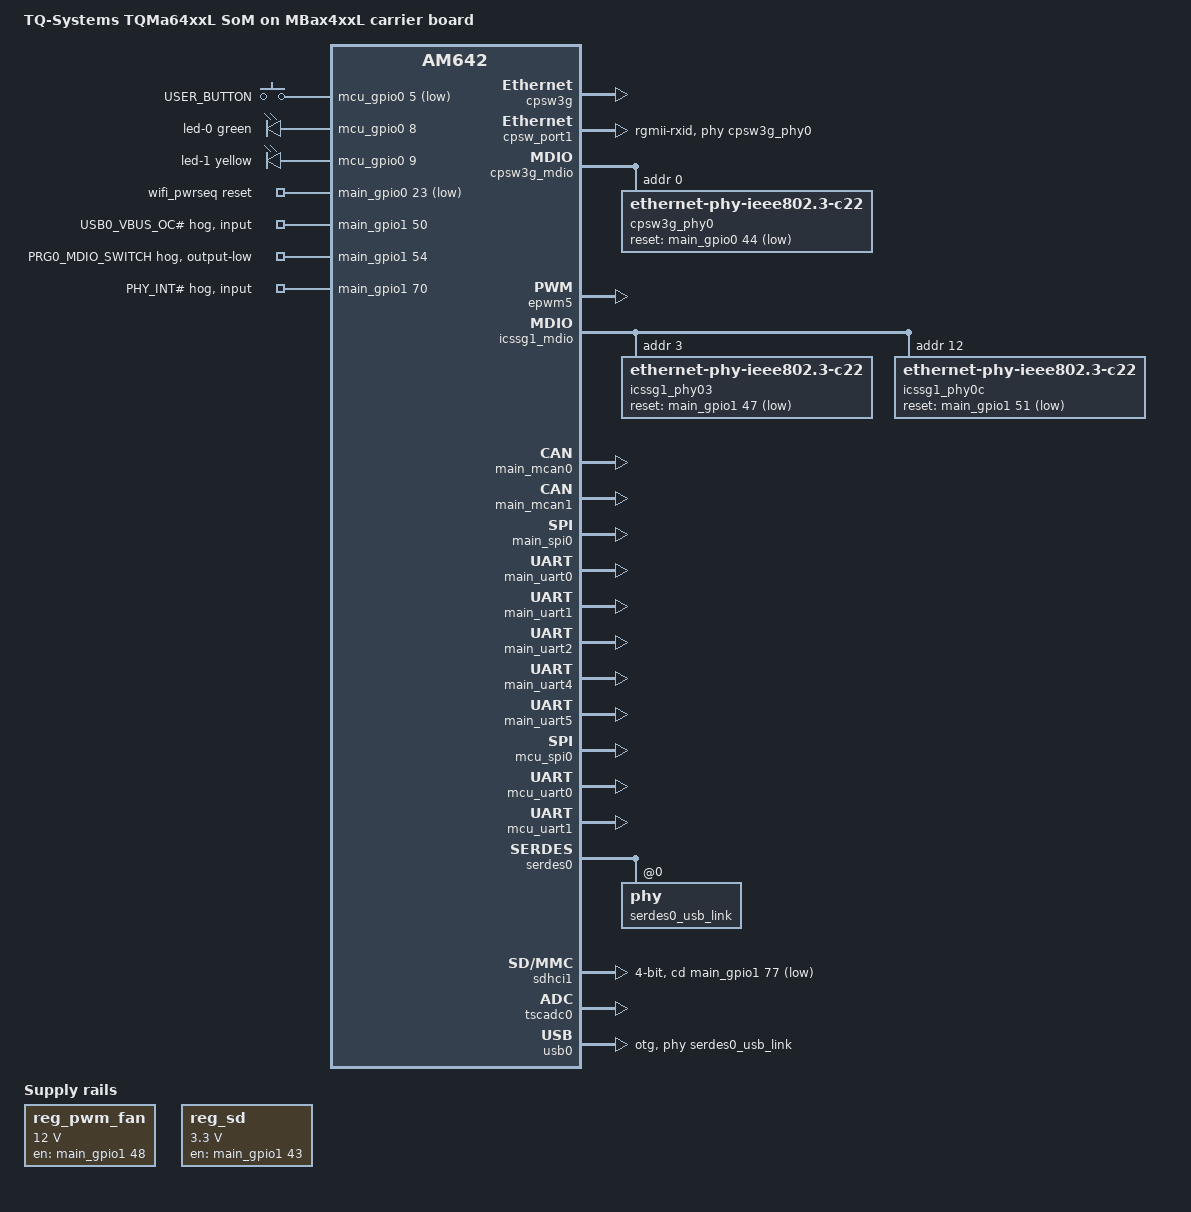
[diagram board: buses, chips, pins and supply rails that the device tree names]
// SPDX-License-Identifier: GPL-2.0-only OR MIT
/*
 * Copyright (C) 2021 Texas Instruments Incorporated - https://www.ti.com/
 * Copyright (c) 2022-2024 TQ-Systems GmbH <linux@ew.tq-group.com>, D-82229 Seefeld, Germany.
 */

/dts-v1/;

#include <dt-bindings/gpio/gpio.h>
#include <dt-bindings/input/input.h>
#include <dt-bindings/leds/common.h>
#include <dt-bindings/net/ti-dp83867.h>
#include <dt-bindings/phy/phy.h>
#include <dt-bindings/pwm/pwm.h>
#include "k3-serdes.h"

#include "k3-am642-tqma64xxl.dtsi"

/ {
	compatible = "tq,am642-tqma6442l-mbax4xxl", "tq,am642-tqma6442l",
		     "ti,am642";
	model = "TQ-Systems TQMa64xxL SoM on MBax4xxL carrier board";
	chassis-type = "embedded";

	aliases {
		ethernet0 = &cpsw_port1;
		ethernet1 = &icssg1_emac0;
		ethernet2 = &icssg1_emac1;
		i2c1 = &mcu_i2c0;
		mmc1 = &sdhci1;
		serial0 = &mcu_uart0;
		serial1 = &mcu_uart1;
		serial2 = &main_uart0;
		serial3 = &main_uart1;
		serial4 = &main_uart2;
		serial5 = &main_uart4;
		serial6 = &main_uart5;
		serial7 = &main_uart3;
		spi1 = &main_spi0;
		spi2 = &mcu_spi0;
	};

	chosen {
		stdout-path = &main_uart0;
	};

	gpio-keys {
		compatible = "gpio-keys";
		pinctrl-names = "default";
		pinctrl-0 = <&mcu_gpio_keys_pins>;

		user-button {
			label = "USER_BUTTON";
			linux,code = <BTN_0>;
			gpios = <&mcu_gpio0 5 GPIO_ACTIVE_LOW>;
		};
	};

	gpio-leds {
		compatible = "gpio-leds";
		pinctrl-names = "default";
		pinctrl-0 = <&mcu_gpio_leds_pins>;

		led-0 {
			gpios = <&mcu_gpio0 8 GPIO_ACTIVE_HIGH>;
			color = <LED_COLOR_ID_GREEN>;
			function = LED_FUNCTION_INDICATOR;
		};
		led-1 {
			gpios = <&mcu_gpio0 9 GPIO_ACTIVE_HIGH>;
			color = <LED_COLOR_ID_YELLOW>;
			function = LED_FUNCTION_INDICATOR;
		};
	};

	icssg1_eth: icssg1-eth {
		compatible = "ti,am642-icssg-prueth";
		pinctrl-names = "default";
		pinctrl-0 = <&pru_icssg1_rgmii1_pins>, <&pru_icssg1_rgmii2_pins>;
		interrupt-parent = <&icssg1_intc>;
		interrupts = <24 0 2>, <25 1 3>;
		interrupt-names = "tx_ts0", "tx_ts1";
		dmas = <&main_pktdma 0xc200 15>, /* egress slice 0 */
		       <&main_pktdma 0xc201 15>, /* egress slice 0 */
		       <&main_pktdma 0xc202 15>, /* egress slice 0 */
		       <&main_pktdma 0xc203 15>, /* egress slice 0 */
		       <&main_pktdma 0xc204 15>, /* egress slice 1 */
		       <&main_pktdma 0xc205 15>, /* egress slice 1 */
		       <&main_pktdma 0xc206 15>, /* egress slice 1 */
		       <&main_pktdma 0xc207 15>, /* egress slice 1 */
		       <&main_pktdma 0x4200 15>, /* ingress slice 0 */
		       <&main_pktdma 0x4201 15>; /* ingress slice 1 */
		dma-names = "tx0-0", "tx0-1", "tx0-2", "tx0-3",
			    "tx1-0", "tx1-1", "tx1-2", "tx1-3",
			    "rx0", "rx1";
		sram = <&oc_sram>;
		firmware-name = "ti-pruss/am64x-sr2-pru0-prueth-fw.elf",
				"ti-pruss/am64x-sr2-rtu0-prueth-fw.elf",
				"ti-pruss/am64x-sr2-txpru0-prueth-fw.elf",
				"ti-pruss/am64x-sr2-pru1-prueth-fw.elf",
				"ti-pruss/am64x-sr2-rtu1-prueth-fw.elf",
				"ti-pruss/am64x-sr2-txpru1-prueth-fw.elf";
		ti,prus = <&pru1_0>, <&rtu1_0>, <&tx_pru1_0>, <&pru1_1>, <&rtu1_1>, <&tx_pru1_1>;
		ti,pruss-gp-mux-sel = <2>,	/* MII mode */
				      <2>,
				      <2>,
				      <2>,	/* MII mode */
				      <2>,
				      <2>;
		ti,mii-g-rt = <&icssg1_mii_g_rt>;
		ti,mii-rt = <&icssg1_mii_rt>;
		ti,iep = <&icssg1_iep0>,  <&icssg1_iep1>;

		ethernet-ports {
			#address-cells = <1>;
			#size-cells = <0>;

			icssg1_emac0: port@0 {
				reg = <0>;
				phy-handle = <&icssg1_phy0c>;
				phy-mode = "rgmii-id";
				/* Filled in by bootloader */
				local-mac-address = [00 00 00 00 00 00];
			};

			icssg1_emac1: port@1 {
				reg = <1>;
				phy-handle = <&icssg1_phy03>;
				phy-mode = "rgmii-id";
				/* Filled in by bootloader */
				local-mac-address = [00 00 00 00 00 00];
			};
		};
	};

	fan0: pwm-fan {
		compatible = "pwm-fan";
		pinctrl-names = "default";
		pinctrl-0 = <&pwm_fan_pins>;
		fan-supply = <&reg_pwm_fan>;
		#cooling-cells = <2>;
		/* typical 25 kHz -> 40.000 nsec */
		pwms = <&epwm5 0 40000 PWM_POLARITY_INVERTED>;
		cooling-levels = <0 32 64 128 196 240>;
		pulses-per-revolution = <2>;
		interrupt-parent = <&main_gpio1>;
		interrupts = <49 IRQ_TYPE_EDGE_FALLING>;
		status = "disabled";
	};

	wifi_pwrseq: pwrseq-wifi {
		compatible = "mmc-pwrseq-simple";
		pinctrl-names = "default";
		pinctrl-0 = <&main_mmc1_wifi_pwrseq_pins>;
		reset-gpios = <&main_gpio0 23 GPIO_ACTIVE_LOW>;
	};

	reg_pwm_fan: regulator-pwm-fan {
		compatible = "regulator-fixed";
		pinctrl-names = "default";
		pinctrl-0 = <&pwm_fan_reg_pins>;
		regulator-name = "FAN_PWR";
		regulator-min-microvolt = <12000000>;
		regulator-max-microvolt = <12000000>;
		gpio = <&main_gpio1 48 GPIO_ACTIVE_HIGH>;
		enable-active-high;
	};

	reg_sd: regulator-sd {
		compatible = "regulator-fixed";
		pinctrl-names = "default";
		pinctrl-0 = <&main_mmc1_reg_pins>;
		regulator-name = "V_3V3_SD";
		regulator-min-microvolt = <3300000>;
		regulator-max-microvolt = <3300000>;
		gpio = <&main_gpio1 43 GPIO_ACTIVE_HIGH>;
		enable-active-high;
	};
};

&cpsw3g {
	pinctrl-names = "default";
	pinctrl-0 = <&cpsw_pins>;
	status = "okay";
};

&cpsw_port1 {
	phy-mode = "rgmii-rxid";
	phy-handle = <&cpsw3g_phy0>;
	status = "okay";
};

&cpsw3g_mdio {
	pinctrl-names = "default";
	pinctrl-0 = <&cpsw_mdio_pins>;
	status = "okay";

	cpsw3g_phy0: ethernet-phy@0 {
		compatible = "ethernet-phy-ieee802.3-c22";
		reg = <0>;
		reset-gpios = <&main_gpio0 44 GPIO_ACTIVE_LOW>;
		reset-assert-us = <1000>;
		reset-deassert-us = <1000>;
		ti,rx-internal-delay = <DP83867_RGMIIDCTL_2_00_NS>;
		ti,clk-output-sel = <DP83867_CLK_O_SEL_OFF>;
	};
};

&epwm5 {
	pinctrl-names = "default";
	pinctrl-0 = <&epwm5_pins>;
	status = "okay";
};

&icssg1_mdio {
	pinctrl-names = "default";
	pinctrl-0 = <&pru_icssg1_mdio_pins>;
	status = "okay";

	/* phy-mode is fixed up to rgmii-rxid by prueth driver to account for
	 * the SoC integration, so the only rx-internal-delay and no
	 * tx-internal-delay is set for the PHYs.
	 */

	icssg1_phy03: ethernet-phy@3 {
		compatible = "ethernet-phy-ieee802.3-c22";
		reg = <0x3>;
		reset-gpios = <&main_gpio1 47 GPIO_ACTIVE_LOW>;
		reset-assert-us = <1000>;
		reset-deassert-us = <1000>;
		ti,rx-internal-delay = <DP83867_RGMIIDCTL_2_00_NS>;
		ti,clk-output-sel = <DP83867_CLK_O_SEL_OFF>;
	};

	icssg1_phy0c: ethernet-phy@c {
		compatible = "ethernet-phy-ieee802.3-c22";
		reg = <0xc>;
		reset-gpios = <&main_gpio1 51 GPIO_ACTIVE_LOW>;
		reset-assert-us = <1000>;
		reset-deassert-us = <1000>;
		ti,rx-internal-delay = <DP83867_RGMIIDCTL_2_00_NS>;
		ti,clk-output-sel = <DP83867_CLK_O_SEL_OFF>;
	};
};


&main_gpio0 {
	pinctrl-names = "default";
	pinctrl-0 = <&main_gpio0_digital_pins>,
		    <&main_gpio0_hog_pins>;
	gpio-line-names =
		"", "", "", "", /* 0-3 */
		"", "", "", "", /* 4-7 */
		"", "", "", "", /* 8-11 */
		"", "", "", "", /* 12-15 */
		"", "", "", "", /* 16-19 */
		"", "", "", "", /* 20-23 */
		"", "", "EN_DIG_OUT_1", "STATUS_OUT_1", /* 24-27 */
		"EN_DIG_OUT_2", "STATUS_OUT_2", "EN_SIG_OUT_3", "", /* 28-31 */
		"", "", "STATUS_OUT_3", "EN_DIG_OUT_4", /* 32-35 */
		"", "", "STATUS_OUT_4", "DIG_IN_1", /* 36-39 */
		"DIG_IN_2", "DIG_IN_3", "DIG_IN_4"; /* 40- */
};

&main_gpio1 {
	pinctrl-names = "default";
	pinctrl-0 = <&main_gpio1_hog_pins>,
		    <&main_gpio1_pru_pins>;
	gpio-line-names =
		"", "", "", "", /* 0-3 */
		"", "", "", "", /* 4-7 */
		"", "", "", "", /* 8-11 */
		"", "", "", "", /* 12-15 */
		"", "", "", "", /* 16-19 */
		"", "", "", "", /* 20-23 */
		"", "", "", "", /* 24-27 */
		"", "", "", "", /* 28-31 */
		"", "", "", "", /* 32-35 */
		"", "", "", "", /* 36-39 */
		"", "", "", "", /* 40-43 */
		"", "", "", "", /* 44-47 */
		"", "", "", "", /* 48-51 */
		"", "", "", "ADC_SYNC", /* 52-55 */
		"", "", "ADC_RST#", "ADC_DATA_RDY", /* 56-59 */
		"", "", "", "", /* 60-63 */
		"", "", "", "ADC_INT#", /* 64-67 */
		"BG95_PWRKEY", "BG95_RESET"; /* 68- */

	line50-hog {
		/* See also usb0 */
		gpio-hog;
		gpios = <50 0>;
		line-name = "USB0_VBUS_OC#";
		input;
	};

	line54-hog {
		gpio-hog;
		gpios = <54 0>;
		line-name = "PRG0_MDIO_SWITCH";
		output-low;
	};

	line70-hog {
		gpio-hog;
		gpios = <70 0>;
		line-name = "PHY_INT#";
		input;
	};
};

&main_mcan0 {
	pinctrl-names = "default";
	pinctrl-0 = <&main_mcan0_pins>;
	status = "okay";
};

&main_mcan1 {
	pinctrl-names = "default";
	pinctrl-0 = <&main_mcan1_pins>;
	status = "okay";
};

&main_spi0 {
	pinctrl-names = "default";
	pinctrl-0 = <&main_spi0_pins>;
	ti,pindir-d0-out-d1-in;
	status = "okay";

	/* adc@0: NXP NAFE13388 */
};

/* UART/USB adapter port 1 */
&main_uart0 {
	pinctrl-names = "default";
	pinctrl-0 = <&main_uart0_pins>;
	status = "okay";
};

/*
 * IOT Module - GNSS UART
 *
 * Note: We expect usage of a SYSFW that does not reserve UART1 for debug traces
 */
&main_uart1 {
	pinctrl-names = "default";
	pinctrl-0 = <&main_uart1_pins>;
	status = "okay";
};

/* RS485 port */
&main_uart2 {
	pinctrl-names = "default";
	pinctrl-0 = <&main_uart2_pins>;
	linux,rs485-enabled-at-boot-time;
	rs485-rts-active-low;
	status = "okay";
};

/* Bluetooth module */
&main_uart3 {
	pinctrl-names = "default";
	pinctrl-0 = <&main_uart3_pins>;
	/*
	 * Left disabled for now, until a way to deal with drivers and firmware
	 * for the combined WLAN/BT module has been figured out
	 */
};

/* IOT module - Main UART */
&main_uart4 {
	pinctrl-names = "default";
	pinctrl-0 = <&main_uart4_pins>;
	status = "okay";
};

/* IOT module - DBG UART */
&main_uart5 {
	pinctrl-names = "default";
	pinctrl-0 = <&main_uart5_pins>;
	status = "okay";
};

&main0_thermal {
	trips {
		main0_active0: trip-active0 {
			temperature = <40000>;
			hysteresis = <5000>;
			type = "active";
		};

		main0_active1: trip-active1 {
			temperature = <48000>;
			hysteresis = <3000>;
			type = "active";
		};

		main0_active2: trip-active2 {
			temperature = <60000>;
			hysteresis = <10000>;
			type = "active";
		};
	};

	cooling-maps {
		map1 {
			trip = <&main0_active0>;
			cooling-device = <&fan0 1 1>;
		};

		map2 {
			trip = <&main0_active1>;
			cooling-device = <&fan0 2 2>;
		};

		map3 {
			trip = <&main0_active2>;
			cooling-device = <&fan0 3 3>;
		};
	};
};

&main1_thermal {
	trips {
		main1_active0: trip-active0 {
			temperature = <40000>;
			hysteresis = <5000>;
			type = "active";
		};

		main1_active1: trip-active1 {
			temperature = <48000>;
			hysteresis = <3000>;
			type = "active";
		};

		main1_active2: trip-active2 {
			temperature = <60000>;
			hysteresis = <10000>;
			type = "active";
		};
	};

	cooling-maps {
		map1 {
			trip = <&main1_active0>;
			cooling-device = <&fan0 1 1>;
		};

		map2 {
			trip = <&main1_active1>;
			cooling-device = <&fan0 2 2>;
		};

		map3 {
			trip = <&main1_active2>;
			cooling-device = <&fan0 3 3>;
		};
	};
};

&mcu_gpio0 {
	pinctrl-names = "default";
	pinctrl-0 = <&mcu_gpio0_pins>;
};

&mcu_i2c0 {
	pinctrl-names = "default";
	pinctrl-0 = <&mcu_i2c0_pins>;
	/* Left disabled: not functional without external pullup */
};

&mcu_spi0 {
	pinctrl-names = "default";
	pinctrl-0 = <&mcu_spi0_pins>;
	ti,pindir-d0-out-d1-in;
	status = "okay";
};

/* UART/USB adapter port 2 */
&mcu_uart0 {
	pinctrl-names = "default";
	pinctrl-0 = <&mcu_uart0_pins>;
	status = "okay";
};

/* Pin header */
&mcu_uart1 {
	pinctrl-names = "default";
	pinctrl-0 = <&mcu_uart1_pins>;
	status = "okay";
};

&serdes_ln_ctrl {
	idle-states = <AM64_SERDES0_LANE0_USB>;
};

&serdes0 {
	serdes0_usb_link: phy@0 {
		reg = <0>;
		#phy-cells = <0>;
		resets = <&serdes_wiz0 1>;
		cdns,num-lanes = <1>;
		cdns,phy-type = <PHY_TYPE_USB3>;
	};
};

&sdhci1 {
	pinctrl-names = "default";
	pinctrl-0 = <&main_mmc1_pins>;
	bus-width = <4>;
	cd-gpios = <&main_gpio1 77 GPIO_ACTIVE_LOW>;
	disable-wp;
	no-mmc;
	ti,fails-without-test-cd;
	/* Enabled by overlay */
};

&tscadc0 {
	status = "okay";
	adc {
		ti,adc-channels = <0 1 2 3 4 5 6 7>;
	};
};

&usb0 {
	/*
	 * The CDNS USB driver currently doesn't support overcurrent GPIOs,
	 * so there is no overcurrent detection. The OC pin is configured
	 * as a GPIO hog instead.
	 */
	pinctrl-names = "default";
	pinctrl-0 = <&main_usb0_pins>;
	dr_mode = "otg";
	maximum-speed = "super-speed";
	phys = <&serdes0_usb_link>;
	phy-names = "cdns3,usb3-phy";
};

&usbss0 {
	ti,vbus-divider;
};

&main_pmx0 {
	cpsw_pins: cpsw-pins {
		pinctrl-single,pins = <
			/* (W5) PRG0_PRU1_GPO7.RGMII1_RD0 */
			AM64X_IOPAD(0x01cc, PIN_INPUT, 4)
			/* (Y5) PRG0_PRU1_GPO9.RGMII1_RD1 */
			AM64X_IOPAD(0x01d4, PIN_INPUT, 4)
			/* (V6) PRG0_PRU1_GPO10.RGMII1_RD2 */
			AM64X_IOPAD(0x01d8, PIN_INPUT, 4)
			/* (V5) PRG0_PRU1_GPO17.RGMII1_RD3 */
			AM64X_IOPAD(0x01f4, PIN_INPUT, 4)
			/* (AA5) PRG0_PRU0_GPO10.RGMII1_RXC */
			AM64X_IOPAD(0x0188, PIN_INPUT, 4)
			/* (W6) PRG0_PRU0_GPO9.RGMII1_RX_CTL */
			AM64X_IOPAD(0x0184, PIN_INPUT, 4)
			/* (V15) PRG1_PRU1_GPO7.RGMII1_TD0 */
			AM64X_IOPAD(0x0124, PIN_OUTPUT, 4)
			/* (V14) PRG1_PRU1_GPO9.RGMII1_TD1 */
			AM64X_IOPAD(0x012c, PIN_OUTPUT, 4)
			/* (W14) PRG1_PRU1_GPO10.RGMII1_TD2 */
			AM64X_IOPAD(0x0130, PIN_OUTPUT, 4)
			/* (AA14) PRG1_PRU1_GPO17.RGMII1_TD3 */
			AM64X_IOPAD(0x014c, PIN_OUTPUT, 4)
			/* (U14) PRG1_PRU0_GPO10.RGMII1_TXC */
			AM64X_IOPAD(0x00e0, PIN_OUTPUT, 4)
			/* (U15) PRG1_PRU0_GPO9.RGMII1_TX_CTL */
			AM64X_IOPAD(0x00dc, PIN_OUTPUT, 4)
		>;
	};

	cpsw_mdio_pins: cpsw-mdio-pins {
		pinctrl-single,pins = <
			/* (R21) GPMC0_CSn3.GPIO0_44 - RESET_RGMII1# */
			AM64X_IOPAD(0x00b4, PIN_OUTPUT, 7)

			/* (R2) PRG0_PRU1_GPO19.MDIO0_MDC */
			AM64X_IOPAD(0x01fc, PIN_OUTPUT, 4)
			/* (P5) PRG0_PRU1_GPO18.MDIO0_MDIO */
			AM64X_IOPAD(0x01f8, PIN_INPUT, 4)
		>;
	};

	epwm5_pins: epwm5-pins {
		pinctrl-single,pins = <
			/* (W19) GPMC0_WAIT0.EHRPWM5_B */
			AM64X_IOPAD(0x0098, PIN_OUTPUT, 3)
		>;
	};

	/* Digital IOs */
	main_gpio0_digital_pins: main-gpio0-digital-pins {
		pinctrl-single,pins = <
			/* (W20) GPMC0_AD11.GPIO0_26 - EN_DIG_OUT_1 */
			AM64X_IOPAD(0x0068, PIN_OUTPUT, 7)
			/* (W21) GPMC0_AD12.GPIO0_27 - STATUS_OUT_1 */
			AM64X_IOPAD(0x006c, PIN_INPUT, 7)
			/* (V18) GPMC0_AD13.GPIO0_28 - EN_DIG_OUT_2 */
			AM64X_IOPAD(0x0070, PIN_OUTPUT, 7)
			/* (Y21) GPMC0_AD14.GPIO0_29 - STATUS_OUT_2 */
			AM64X_IOPAD(0x0074, PIN_INPUT, 7)
			/* (Y20) GPMC0_AD15.GPIO0_30 - EN_DIG_OUT_3 */
			AM64X_IOPAD(0x0078, PIN_OUTPUT, 7)
			/* (T21) GPMC0_WEn.GPIO0_34 - STATUS_OUT_3 */
			AM64X_IOPAD(0x008c, PIN_INPUT, 7)
			/* (P17) GPMC0_BE0n_CLE.GPIO0_35 - EN_DIG_OUT_4 */
			AM64X_IOPAD(0x0090, PIN_OUTPUT, 7)
			/* (Y18) GPMC0_WAIT1.GPIO0_38 - STATUS_OUT_4 */
			AM64X_IOPAD(0x009c, PIN_INPUT, 7)
			/* (N16) GPMC0_WPn.GPIO0_39 - DIG_IN_1 */
			AM64X_IOPAD(0x00a0, PIN_INPUT, 7)
			/* (N17) GPMC0_DIR.GPIO0_40 - DIG_IN_2 */
			AM64X_IOPAD(0x00a4, PIN_INPUT, 7)
			/* (R19) GPMC0_CSn0.GPIO0_41 - DIG_IN_3 */
			AM64X_IOPAD(0x00a8, PIN_INPUT, 7)
			/* (R20) GPMC0_CSn1.GPIO0_42 - DIG_IN_4 */
			AM64X_IOPAD(0x00ac, PIN_INPUT, 7)
		>;
	};

	main_gpio0_hog_pins: main-gpio0-hog-pins {
		pinctrl-single,pins = <
			/* (P19) GPMC0_CSn2.GPIO0_43 - MMC1_CTRL */
			AM64X_IOPAD(0x00b0, PIN_OUTPUT, 7)
		>;
	};

	main_gpio1_hog_pins: main-gpio1-hog-pins {
		pinctrl-single,pins = <
			/* (B15) SPI1_D0.GPIO1_50 - USB0_VBUS_OC# */
			AM64X_IOPAD(0x0228, PIN_INPUT, 7)
			/* (B16) UART0_CTSn.GPIO1_54 - PRG0_MDIO_SWITCH */
			AM64X_IOPAD(0x0238, PIN_OUTPUT, 7)
			/* (C19) EXTINTn.GPIO1_70 - PHY_INT# */
			AM64X_IOPAD(0x0278, PIN_INPUT, 7)
		>;
	};

	main_gpio1_pru_pins: main-gpio1-pru-pins {
		pinctrl-single,pins = <
			/* (Y1) PRG0_PRU0_GPO0.GPIO1_0 */
			AM64X_IOPAD(0x0160, PIN_INPUT, 7)
			/* (R4) PRG0_PRU0_GPO1.GPIO1_1 */
			AM64X_IOPAD(0x0164, PIN_INPUT, 7)
			/* (U2) PRG0_PRU0_GPO2.GPIO1_2 */
			AM64X_IOPAD(0x0168, PIN_INPUT, 7)
			/* (V2) PRG0_PRU0_GPO3.GPIO1_3 */
			AM64X_IOPAD(0x016c, PIN_INPUT, 7)
			/* (AA2) PRG0_PRU0_GPO4.GPIO1_4 */
			AM64X_IOPAD(0x0170, PIN_INPUT, 7)
			/* (R3) PRG0_PRU0_GPO5.GPIO1_5 */
			AM64X_IOPAD(0x0174, PIN_INPUT, 7)
			/* (T3) PRG0_PRU0_GPO6.GPIO1_6 */
			AM64X_IOPAD(0x0178, PIN_INPUT, 7)
			/* (T1) PRG0_PRU0_GPO7.GPIO1_7 */
			AM64X_IOPAD(0x017c, PIN_INPUT, 7)
			/* (T2) PRG0_PRU0_GPO8.GPIO1_8 */
			AM64X_IOPAD(0x0180, PIN_INPUT, 7)
			/* (Y3) PRG0_PRU0_GPO11.GPIO1_11 */
			AM64X_IOPAD(0x018c, PIN_INPUT, 7)
			/* (AA3) PRG0_PRU0_GPO12.GPIO1_12 */
			AM64X_IOPAD(0x0190, PIN_INPUT, 7)
			/* (R6) PRG0_PRU0_GPO13.GPIO1_13 */
			AM64X_IOPAD(0x0194, PIN_INPUT, 7)
			/* (V4) PRG0_PRU0_GPO14.GPIO1_14 */
			AM64X_IOPAD(0x0198, PIN_INPUT, 7)
			/* (T5) PRG0_PRU0_GPO15.GPIO1_15 */
			AM64X_IOPAD(0x019c, PIN_INPUT, 7)
			/* (U4) PRG0_PRU0_GPO16.GPIO1_16 */
			AM64X_IOPAD(0x01a0, PIN_INPUT, 7)
			/* (U1) PRG0_PRU0_GPO17.GPIO1_17 */
			AM64X_IOPAD(0x01a4, PIN_INPUT, 7)
			/* (V1) PRG0_PRU0_GPO18.GPIO1_18 */
			AM64X_IOPAD(0x01a8, PIN_INPUT, 7)
			/* (W1) PRG0_PRU0_GPO19.GPIO1_19 */
			AM64X_IOPAD(0x01ac, PIN_INPUT, 7)
			/* (Y2) PRG0_PRU1_GPO0.GPIO1_20 */
			AM64X_IOPAD(0x01b0, PIN_INPUT, 7)
			/* (W2) PRG0_PRU1_GPO1.GPIO1_21 */
			AM64X_IOPAD(0x01b4, PIN_INPUT, 7)
			/* (V3) PRG0_PRU1_GPO2.GPIO1_22 */
			AM64X_IOPAD(0x01b8, PIN_INPUT, 7)
			/* (T4) PRG0_PRU1_GPO3.GPIO1_23 */
			AM64X_IOPAD(0x01bc, PIN_INPUT, 7)
			/* (W3) PRG0_PRU1_GPO4.GPIO1_24 */
			AM64X_IOPAD(0x01c0, PIN_INPUT, 7)
			/* (P4) PRG0_PRU1_GPO5.GPIO1_25 */
			AM64X_IOPAD(0x01c4, PIN_INPUT, 7)
			/* (R5) PRG0_PRU1_GPO6.GPIO1_26 */
			AM64X_IOPAD(0x01c8, PIN_INPUT, 7)
			/* (R1) PRG0_PRU1_GPO8.GPIO1_28 */
			AM64X_IOPAD(0x01d0, PIN_INPUT, 7)
			/* (W4) PRG0_PRU1_GPO11.GPIO1_31 */
			AM64X_IOPAD(0x01dc, PIN_INPUT, 7)
			/* (Y4) PRG0_PRU1_GPO12.GPIO1_32 */
			AM64X_IOPAD(0x01e0, PIN_INPUT, 7)
			/* (T6) PRG0_PRU1_GPO13.GPIO1_33 */
			AM64X_IOPAD(0x01e4, PIN_INPUT, 7)
			/* (U6) PRG0_PRU1_GPO14.GPIO1_34 */
			AM64X_IOPAD(0x01e8, PIN_INPUT, 7)
			/* (U5) PRG0_PRU1_GPO15.GPIO1_35 */
			AM64X_IOPAD(0x01ec, PIN_INPUT, 7)
			/* (AA4) PRG0_PRU1_GPO16.GPIO1_36 */
			AM64X_IOPAD(0x01f0, PIN_INPUT, 7)
			/* (P2) PRG0_MDIO0_MDIO.GPIO1_40 */
			AM64X_IOPAD(0x0200, PIN_INPUT, 7)
			/* (P3) PRG0_MDIO0_MDC.GPIO1_41 */
			AM64X_IOPAD(0x0204, PIN_INPUT, 7)
		>;
	};

	main_mcan0_pins: main-mcan0-pins {
		pinctrl-single,pins = <
			/* (B17) MCAN0_RX */
			AM64X_IOPAD(0x0254, PIN_INPUT, 0)
			/* (A17) MCAN0_TX */
			AM64X_IOPAD(0x0250, PIN_OUTPUT, 0)
		>;
	};

	main_mcan1_pins: main-mcan1-pins {
		pinctrl-single,pins = <
			/* (D17) MCAN1_RX */
			AM64X_IOPAD(0x025c, PIN_INPUT, 0)
			/* (C17) MCAN1_TX */
			AM64X_IOPAD(0x0258, PIN_OUTPUT, 0)
		>;
	};

	main_mmc1_pins: main-mmc1-pins {
		pinctrl-single,pins = <
			/* (J19) MMC1_CMD */
			AM64X_IOPAD(0x0294, PIN_INPUT, 0)
			/* (L20) MMC1_CLK */
			AM64X_IOPAD(0x028c, PIN_INPUT, 0)
			/* (K21) MMC1_DAT0 */
			AM64X_IOPAD(0x0288, PIN_INPUT, 0)
			/* (L21) MMC1_DAT1 */
			AM64X_IOPAD(0x0284, PIN_INPUT, 0)
			/* (K19) MMC1_DAT2 */
			AM64X_IOPAD(0x0280, PIN_INPUT, 0)
			/* (K18) MMC1_DAT3 */
			AM64X_IOPAD(0x027c, PIN_INPUT, 0)
			/* (D19) MMC1_SDCD.GPIO1_77 */
			AM64X_IOPAD(0x0298, PIN_INPUT, 7)
			/* (#N/A) MMC1_CLKLB */
			AM64X_IOPAD(0x0290, PIN_INPUT, 0)
		>;
	};

	main_mmc1_reg_pins: main-mmc1-reg-pins {
		pinctrl-single,pins = <
			/* (C13) SPI0_CS1.GPIO1_43 - MMC1_SD_EN */
			AM64X_IOPAD(0x020c, PIN_OUTPUT, 7)
		>;
	};

	main_mmc1_wifi_pwrseq_pins: main-mmc1-wifi-pwrseq-pins {
		pinctrl-single,pins = <
			/* (V19) GPMC0_AD8.GPIO0_23 - WIFI-BT_EN */
			AM64X_IOPAD(0x005c, PIN_OUTPUT, 7)
		>;
	};

	main_spi0_pins: main-spi0-pins {
		pinctrl-single,pins = <
			/* (D13) SPI0_CLK */
			AM64X_IOPAD(0x0210, PIN_OUTPUT, 0)
			/* (D12) SPI0_CS0 */
			AM64X_IOPAD(0x0208, PIN_OUTPUT, 0)
			/* (A13) SPI0_D0 */
			AM64X_IOPAD(0x0214, PIN_OUTPUT, 0)
			/* (A14) SPI0_D1 */
			AM64X_IOPAD(0x0218, PIN_INPUT, 0)
		>;
	};

	main_spi0_adc_pins: main-spi0-adc-pins {
		pinctrl-single,pins = <
			/* (A16) UART0_RTSn.GPIO1_55 - ADC_SYNC */
			AM64X_IOPAD(0x023c, PIN_INPUT, 7)
			/* (D16) UART1_CTSn.GPIO1_58 - ADC_RST# */
			AM64X_IOPAD(0x0248, PIN_OUTPUT, 7)
			/* (E16) UART1_RTSn.GPIO1_59 - ADC_DATA_RDY */
			AM64X_IOPAD(0x024c, PIN_INPUT, 7)
			/* (B19) I2C1_SDA.GPIO1_67 - ADC_INT# */
			AM64X_IOPAD(0x026c, PIN_INPUT, 7)
		>;
	};

	main_uart0_pins: main-uart0-pins {
		pinctrl-single,pins = <
			/* (D15) UART0_RXD */
			AM64X_IOPAD(0x0230, PIN_INPUT, 0)
			/* (C16) UART0_TXD */
			AM64X_IOPAD(0x0234, PIN_OUTPUT, 0)
		>;
	};

	main_uart1_pins: main-uart1-pins {
		pinctrl-single,pins = <
			/* (E15) UART1_RXD */
			AM64X_IOPAD(0x0240, PIN_INPUT, 0)
			/* (E14) UART1_TXD */
			AM64X_IOPAD(0x0244, PIN_OUTPUT, 0)
		>;
	};

	main_uart2_pins: main-uart2-pins {
		pinctrl-single,pins = <
			/* (T18) GPMC0_AD2.UART2_RTSn */
			AM64X_IOPAD(0x0044, PIN_OUTPUT, 2)
			/* (T20) GPMC0_AD0.UART2_RXD */
			AM64X_IOPAD(0x003c, PIN_INPUT, 2)
			/* (U21) GPMC0_AD1.UART2_TXD */
			AM64X_IOPAD(0x0040, PIN_OUTPUT, 2)
		>;
	};

	main_uart3_pins: main-uart3-pins {
		pinctrl-single,pins = <
			/* (T17) GPMC0_AD9.UART3_CTSn */
			AM64X_IOPAD(0x0060, PIN_INPUT, 2)
			/* (U19) GPMC0_AD5.UART3_RTSn */
			AM64X_IOPAD(0x0050, PIN_OUTPUT, 2)
			/* (U20) GPMC0_AD3.UART3_RXD */
			AM64X_IOPAD(0x0048, PIN_INPUT, 2)
			/* (U18) GPMC0_AD4.UART3_TXD */
			AM64X_IOPAD(0x004c, PIN_OUTPUT, 2)
		>;
	};

	main_uart4_pins: main-uart4-pins {
		pinctrl-single,pins = <
			/* (R16) GPMC0_AD10.UART4_CTSn */
			AM64X_IOPAD(0x0064, PIN_INPUT, 2)
			/* (R17) GPMC0_CLK.UART4_RTSn */
			AM64X_IOPAD(0x007c, PIN_OUTPUT, 2)
			/* (V20) GPMC0_AD6.UART4_RXD */
			AM64X_IOPAD(0x0054, PIN_INPUT, 2)
			/* (V21) GPMC0_AD7.UART4_TXD */
			AM64X_IOPAD(0x0058, PIN_OUTPUT, 2)

			/* Control GPIOs for IOT Module connected to UART4 */
			/* (D18) ECAP0_IN_APWM_OUT.GPIO1_68 - BG95_PWRKEY */
			AM64X_IOPAD(0x0270, PIN_OUTPUT, 7)
			/* (A19) EXT_REFCLK1.GPIO1_69 - BG95_RESET */
			AM64X_IOPAD(0x0274, PIN_OUTPUT, 7)
		>;
	};

	main_uart5_pins: main-uart5-pins {
		pinctrl-single,pins = <
			/* (P16) GPMC0_ADVn_ALE.UART5_RXD */
			AM64X_IOPAD(0x0084, PIN_INPUT, 2)
			/* (R18) GPMC0_OEn_REn.UART5_TXD */
			AM64X_IOPAD(0x0088, PIN_OUTPUT, 2)
		>;
	};

	main_usb0_pins: main-usb0-pins {
		pinctrl-single,pins = <
			/* (E19) USB0_DRVVBUS */
			AM64X_IOPAD(0x02a8, PIN_OUTPUT, 0)
		>;
	};

	pru_icssg1_mdio_pins: pru-icssg1-mdio-pins {
		pinctrl-single,pins = <
			/* (A15) SPI1_D1.GPIO1_51 - RESET_PRG1_RGMII1# */
			AM64X_IOPAD(0x022c, PIN_OUTPUT, 7)
			/* (B14) SPI1_CS0.GPIO1_47 - RESET_PRG1_RGMII2# */
			AM64X_IOPAD(0x021c, PIN_OUTPUT, 7)

			/* (Y6) PRG1_MDIO0_MDC */
			AM64X_IOPAD(0x015c, PIN_OUTPUT, 0)
			/* (AA6) PRG1_MDIO0_MDIO */
			AM64X_IOPAD(0x0158, PIN_INPUT, 0)
		>;
	};

	pru_icssg1_rgmii1_pins: pru-icssg1-rgmii1-pins {
		pinctrl-single,pins = <
			/* (Y7) PRG1_PRU0_GPO0.PRG1_RGMII1_RD0 */
			AM64X_IOPAD(0x00b8, PIN_INPUT, 2)
			/* (U8) PRG1_PRU0_GPO1.PRG1_RGMII1_RD1 */
			AM64X_IOPAD(0x00bc, PIN_INPUT, 2)
			/* (W8) PRG1_PRU0_GPO2.PRG1_RGMII1_RD2 */
			AM64X_IOPAD(0x00c0, PIN_INPUT, 2)
			/* (V8) PRG1_PRU0_GPO3.PRG1_RGMII1_RD3 */
			AM64X_IOPAD(0x00c4, PIN_INPUT, 2)
			/* (AA7) PRG1_PRU0_GPO6.PRG1_RGMII1_RXC */
			AM64X_IOPAD(0x00d0, PIN_INPUT, 2)
			/* (Y8) PRG1_PRU0_GPO4.PRG1_RGMII1_RX_CTL */
			AM64X_IOPAD(0x00c8, PIN_INPUT, 2)
			/* (AA8) PRG1_PRU0_GPO11.PRG1_RGMII1_TD0 */
			AM64X_IOPAD(0x00e4, PIN_OUTPUT, 2)
			/* (U9) PRG1_PRU0_GPO12.PRG1_RGMII1_TD1 */
			AM64X_IOPAD(0x00e8, PIN_OUTPUT, 2)
			/* (W9) PRG1_PRU0_GPO13.PRG1_RGMII1_TD2 */
			AM64X_IOPAD(0x00ec, PIN_OUTPUT, 2)
			/* (AA9) PRG1_PRU0_GPO14.PRG1_RGMII1_TD3 */
			AM64X_IOPAD(0x00f0, PIN_OUTPUT, 2)
			/* (V9) PRG1_PRU0_GPO16.PRG1_RGMII1_TXC */
			AM64X_IOPAD(0x00f8, PIN_OUTPUT, 2)
			/* (Y9) PRG1_PRU0_GPO15.PRG1_RGMII1_TX_CTL */
			AM64X_IOPAD(0x00f4, PIN_OUTPUT, 2)
		>;
	};

	pru_icssg1_rgmii2_pins: pru-icssg1-rgmii2-pins {
		pinctrl-single,pins = <
			/* (W11) PRG1_PRU1_GPO0.PRG1_RGMII2_RD0 */
			AM64X_IOPAD(0x0108, PIN_INPUT, 2)
			/* (V11) PRG1_PRU1_GPO1.PRG1_RGMII2_RD1 */
			AM64X_IOPAD(0x010c, PIN_INPUT, 2)
			/* (AA12) PRG1_PRU1_GPO2.PRG1_RGMII2_RD2 */
			AM64X_IOPAD(0x0110, PIN_INPUT, 2)
			/* (Y12) PRG1_PRU1_GPO3.PRG1_RGMII2_RD3 */
			AM64X_IOPAD(0x0114, PIN_INPUT, 2)
			/* (U11) PRG1_PRU1_GPO6.PRG1_RGMII2_RXC */
			AM64X_IOPAD(0x0120, PIN_INPUT, 2)
			/* (W12) PRG1_PRU1_GPO4.PRG1_RGMII2_RX_CTL */
			AM64X_IOPAD(0x0118, PIN_INPUT, 2)
			/* (AA10) PRG1_PRU1_GPO11.PRG1_RGMII2_TD0 */
			AM64X_IOPAD(0x0134, PIN_OUTPUT, 2)
			/* (V10) PRG1_PRU1_GPO12.PRG1_RGMII2_TD1 */
			AM64X_IOPAD(0x0138, PIN_OUTPUT, 2)
			/* (U10) PRG1_PRU1_GPO13.PRG1_RGMII2_TD2 */
			AM64X_IOPAD(0x013c, PIN_OUTPUT, 2)
			/* (AA11) PRG1_PRU1_GPO14.PRG1_RGMII2_TD3 */
			AM64X_IOPAD(0x0140, PIN_OUTPUT, 2)
			/* (Y10) PRG1_PRU1_GPO16.PRG1_RGMII2_TXC */
			AM64X_IOPAD(0x0148, PIN_OUTPUT, 2)
			/* (Y11) PRG1_PRU1_GPO15.PRG1_RGMII2_TX_CTL */
			AM64X_IOPAD(0x0144, PIN_OUTPUT, 2)
		>;
	};

	pwm_fan_pins: pwm-fan-pins {
		pinctrl-single,pins = <
			/* (T19) GPMC0_BE1n.EHRPWM5_A */
			AM64X_IOPAD(0x0094, PIN_OUTPUT, 3)
			/* (C14) SPI1_CLK.GPIO1_49 - FAN_RPM */
			AM64X_IOPAD(0x0224, PIN_INPUT, 7)
		>;
	};

	pwm_fan_reg_pins: pwm-fan-reg-pins {
		pinctrl-single,pins = <
			/* (D14) SPI1_CS1.GPIO1_48 - FAN_PWR */
			AM64X_IOPAD(0x0220, PIN_OUTPUT, 7)
		>;
	};
};

&mcu_pmx0 {
	mcu_gpio_keys_pins: mcu-gpio-keys-pins {
		pinctrl-single,pins = <
			/* (A7) MCU_SPI1_CS0.MCU_GPIO0_5 */
			AM64X_MCU_IOPAD(0x0014, PIN_INPUT, 7)
		>;
	};

	mcu_gpio_leds_pins: mcu-gpio-leds-pins {
		pinctrl-single,pins = <
			/* (C7) MCU_SPI1_D0.MCU_GPIO0_8 */
			AM64X_MCU_IOPAD(0x0020, PIN_OUTPUT, 7)
			/* (C8) MCU_SPI1_D1.MCU_GPIO0_9 */
			AM64X_MCU_IOPAD(0x0024, PIN_OUTPUT, 7)
		>;
	};

	mcu_gpio0_pins: mcu-gpio0-pins {
		pinctrl-single,pins = <
			/* (E8) MCU_UART0_RTSn.MCU_GPIO0_0 */
			AM64X_MCU_IOPAD(0x0034, PIN_INPUT, 7)
			/* (D8) MCU_UART0_CTSn.MCU_GPIO0_1 */
			AM64X_MCU_IOPAD(0x0030, PIN_INPUT, 7)
			/* (B7) MCU_SPI1_CS1.MCU_GPIO0_6 */
			AM64X_MCU_IOPAD(0x0018, PIN_INPUT, 7)
			/* (D7) MCU_SPI1_CLK.MCU_GPIO0_7 */
			AM64X_MCU_IOPAD(0x001c, PIN_INPUT, 7)
			/* (A11) MCU_I2C1_SCL.MCU_GPIO0_20 */
			AM64X_MCU_IOPAD(0x0050, PIN_INPUT, 7)
			/* (B10) MCU_I2C1_SDA.MCU_GPIO0_21 */
			AM64X_MCU_IOPAD(0x0054, PIN_INPUT, 7)
		>;
	};

	mcu_i2c0_pins: mcu-i2c0-pins {
		pinctrl-single,pins = <
			/* (E9) MCU_I2C0_SCL */
			AM64X_MCU_IOPAD(0x0048, PIN_INPUT, 0)
			/* (A10) MCU_I2C0_SDA */
			AM64X_MCU_IOPAD(0x004c, PIN_INPUT, 0)
		>;
	};

	mcu_spi0_pins: mcu-spi0-pins {
		pinctrl-single,pins = <
			/* (E6) MCU_SPI0_CLK */
			AM64X_MCU_IOPAD(0x0008, PIN_OUTPUT, 0)
			/* (D6) MCU_SPI0_CS0 */
			AM64X_MCU_IOPAD(0x0000, PIN_OUTPUT, 0)
			/* (C6) MCU_SPI0_CS1 */
			AM64X_MCU_IOPAD(0x0004, PIN_OUTPUT, 0)
			/* (E7) MCU_SPI0_D0 */
			AM64X_MCU_IOPAD(0x000c, PIN_OUTPUT, 0)
			/* (B6) MCU_SPI0_D1 */
			AM64X_MCU_IOPAD(0x0010, PIN_INPUT, 0)
		>;
	};

	mcu_uart0_pins: mcu-uart0-pins {
		pinctrl-single,pins = <
			/* (A9) MCU_UART0_RXD */
			AM64X_MCU_IOPAD(0x0028, PIN_INPUT, 0)
			/* (A8) MCU_UART0_TXD */
			AM64X_MCU_IOPAD(0x002c, PIN_OUTPUT, 0)
		>;
	};

	mcu_uart1_pins: mcu-uart1-pins {
		pinctrl-single,pins = <
			/* (B8) MCU_UART1_CTSn */
			AM64X_MCU_IOPAD(0x0040, PIN_INPUT, 0)
			/* (B9) MCU_UART1_RTSn */
			AM64X_MCU_IOPAD(0x0044, PIN_OUTPUT, 0)
			/* (C9) MCU_UART1_RXD */
			AM64X_MCU_IOPAD(0x0038, PIN_INPUT, 0)
			/* (D9) MCU_UART1_TXD */
			AM64X_MCU_IOPAD(0x003c, PIN_OUTPUT, 0)
		>;
	};
};
